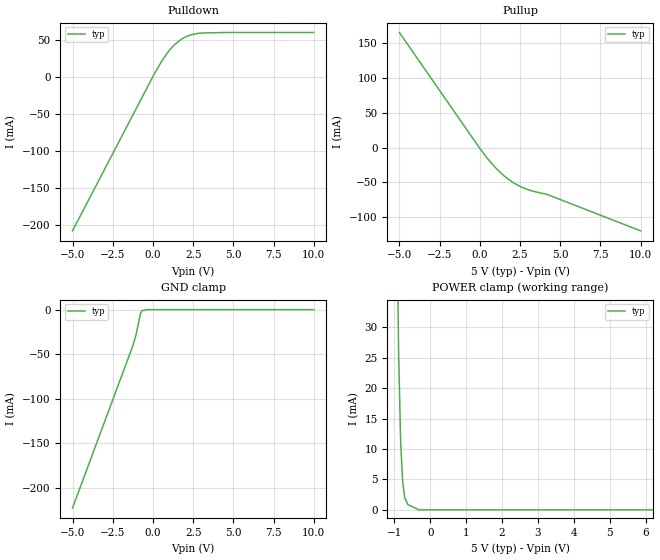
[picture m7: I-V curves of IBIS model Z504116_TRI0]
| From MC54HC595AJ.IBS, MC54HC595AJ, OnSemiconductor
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| (C) COPYRIGHT 1993-2000
| MENTOR GRAPHICS CORPORATION
| ICX STANDARD LIBRARY, ICX PROJECT MODELING,
| ICX CUSTOM MODELING, ICX VENDOR MODEL
| ALL RIGHTS RESERVED.
| THE FOLLOWING ARE TRADEMARKS OR SERVICE MARKS OF
| MENTOR GRAPHICS CORPORATION:ICX (R), ICX STANDARD
| LIBRARY(R), ICX PROJECT MODELING(R), ICX CUSTOM
| MODELING(R), qualityIBIS(TM), MODELVIEWER(TM),
| AND MODELEDITOR(TM)
| ALL COPIES OF SOFTWARE, INCLUDING BUT NOT LIMITED TO
| ANY MODIFICATIONS, ENHANCEMENTS OR DERIVATIVE WORKS,
| MUST CONTAIN ALL MENTOR GRAPHICS CORPORATION'S
| NOTICES AND LEGENDS, INCLUDING THOSE EMBEDDED IN
| SOFTWARE AND THOSE AFFIXED TO SOFTWARE MEDIUM
| AND CONTAINER, AS RECEIVED FROM MENTOR GRAPHICS
| CORPORATION.
| Model Application Version 1.89 2/18/99.
[Model] Z504116_TRI0
Model_type 3-state
Vref=0.000V
Rref=500.0Mohms
Cref=50.00pF
Vmeas=2.500V
C_comp 8.000pF NA NA
| variable typ   min   max
[Voltage Range] 5.000V NA NA
[POWER Clamp Reference] 5.000V NA NA
[Pullup Reference] 5.000V NA NA
[Pulldown Reference] 0.000V NA NA
[GND Clamp Reference] 0.000V NA NA
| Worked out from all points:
|   slope of the pulldown table from 0 to 0.75 V, typ, clamps not added: 27.5 ohm
|   slope of the pullup table from 0 to 0.75 V, typ, clamps not added: 34.4 ohm
|   POWER clamp passes 1 mA (typ) near -0.64 V on its own axis
[GND Clamp]
-5V       -222.7mA   NA         NA
-1.242V   -40.28mA   NA         NA
-1.045V   -27.97mA   NA         NA
-786mV    -5.212mA   NA         NA
-697.2mV  -1.335mA   NA         NA
-348.6mV  0A         NA         NA
10V       0A         NA         NA
[Pulldown]
-5V       -208.5mA   NA         NA
102.6mV   4.272mA    NA         NA
566.4mV   21.45mA    NA         NA
908.2mV   32.19mA    NA         NA
1.318V    42.45mA    NA         NA
1.612V    47.94mA    NA         NA
2.14V     54.61mA    NA         NA
3.037V    58.84mA    NA         NA
10V       59.51mA    NA         NA
[Pullup]
-5V       165.6mA    NA         NA
25mV      -1.974mA   NA         NA
513mV     -16.76mA   NA         NA
1.002V    -29.54mA   NA         NA
1.524V    -40.9mA    NA         NA
2.051V    -49.95mA   NA         NA
2.617V    -57.11mA   NA         NA
3.281V    -62.55mA   NA         NA
4.21V     -67.58mA   NA         NA
10V       -119.8mA   NA         NA
[POWER Clamp]
-5V       1.911A     NA         NA
-884mV    25.53mA    NA         NA
-829mV    11.26mA    NA         NA
-773mV    4.667mA    NA         NA
-717mV    2.025mA    NA         NA
-625mV    853.5uA    NA         NA
-312.5mV  0A         NA         NA
10V       0A         NA         NA
[Ramp]
| variable typ min max
dV/dt_r 2.985/2.751n NA NA
dV/dt_f 2.985/1.820n NA NA
R_load = 2.500kOhms
